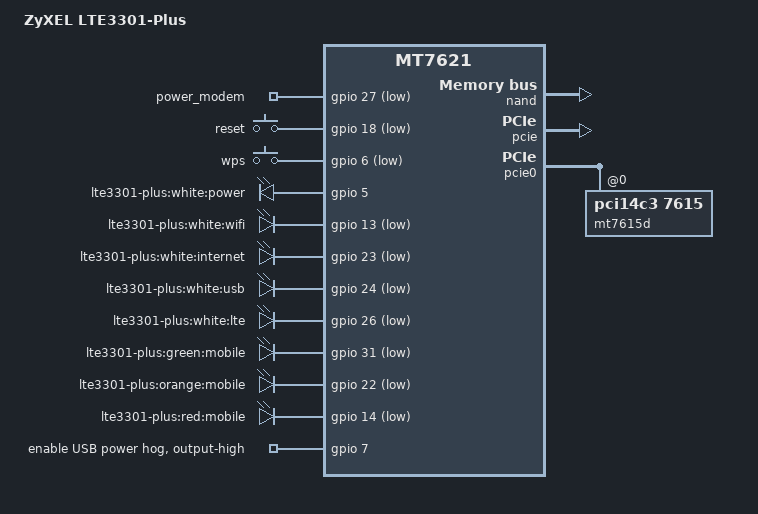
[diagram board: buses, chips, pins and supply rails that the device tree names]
/dts-v1/;

#include "mt7621.dtsi"

#include <dt-bindings/gpio/gpio.h>
#include <dt-bindings/input/input.h>

/ {
	compatible = "zyxel,lte3301-plus", "mediatek,mt7621-soc";
	model = "ZyXEL LTE3301-Plus";

	aliases {
		label-mac-device = &gmac0;
		led-boot = &led_power;
		led-failsafe = &led_power;
		led-running = &led_power;
		led-upgrade = &led_power;
	};


	chosen {
		bootargs = "console=ttyS0,57600";
	};

	gpio_export {
		compatible = "gpio-export";
		#size-cells = <0>;

		power_modem {
			gpio-export,name = "power_modem";
			gpio-export,output = <1>;
			gpios = <&gpio 27 GPIO_ACTIVE_LOW>;
		};

	};

	keys {
		compatible = "gpio-keys";

		reset {
			label = "reset";
			gpios = <&gpio 18 GPIO_ACTIVE_LOW>;
			linux,code = <KEY_RESTART>;
		};

		wps {
			label = "wps";
			gpios = <&gpio 6 GPIO_ACTIVE_LOW>;
			linux,code = <KEY_WPS_BUTTON>;
		};

	};

	leds {
		compatible = "gpio-leds";

		led_power: power {
			label = "lte3301-plus:white:power";
			gpios = <&gpio 5 GPIO_ACTIVE_HIGH>;
		};

		wifi {
			label = "lte3301-plus:white:wifi";
			gpios = <&gpio 13 GPIO_ACTIVE_LOW>;
		};

		internet {
			label = "lte3301-plus:white:internet";
			gpios = <&gpio 23 GPIO_ACTIVE_LOW>;
		};

		usb {
			label = "lte3301-plus:white:usb";
			gpios = <&gpio 24 GPIO_ACTIVE_LOW>;
		};

		lte {
			label = "lte3301-plus:white:lte";
			gpios = <&gpio 26 GPIO_ACTIVE_LOW>;
		};

		mobile_green {
			label = "lte3301-plus:green:mobile";
			gpios = <&gpio 31 GPIO_ACTIVE_LOW>;
		};

		mobile_orange {
			label = "lte3301-plus:orange:mobile";
			gpios = <&gpio 22 GPIO_ACTIVE_LOW>;
		};

		mobile_red {
			label = "lte3301-plus:red:mobile";
			gpios = <&gpio 14 GPIO_ACTIVE_LOW>;
		};

	};

};

&gpio {
	status = "okay";

	enable_usb_power {
		gpio-hog;
		line-name = "enable USB power";
		gpios = <7 GPIO_ACTIVE_HIGH>;
		output-high;
	};
};

&nand {
	status = "okay";

	partitions {
		compatible = "fixed-partitions";
		#address-cells = <1>;
		#size-cells = <1>;

		partition@0 {
			label = "uboot";
			reg = <0x00000 0x80000>; /* 64 KB */
		};
		partition@80000 {
			label = "uboot_env";
			reg = <0x80000 0x80000>; /* 64 KB */
		};
		factory: partition@100000 {
			label = "factory";
			reg = <0x100000 0x40000>;
		};
		partition@140000 {
			label = "Kernel";
			reg = <0x140000 0x1ec0000>;
		};
		partition@2140000 {
			label = "kernel2";
			reg = <0x2140000 0x1ec0000>;
		};
		partition@4000000 {
			label = "wwan";
			reg = <0x4000000 0x100000>;
		};
		partition@4100000 {
			label = "ubi";
			reg = <0x4100000 0x3ee0000>;
		};
	};
};

&ethernet {
	pinctrl-0 = <&mdio_pins>, <&rgmii1_pins>;
};

&state_default {
	gpio {
		groups = "i2c", "rgmii2", "uart3", "jtag", "wdt";
		function = "gpio";
	};

};

&gmac0 {
	nvmem-cells = <&macaddr_factory_fe6e>;
	nvmem-cell-names = "mac-address";
};

&switch0 {
	ports {
		port@0 {
			status = "okay";
			label = "lan4";
		};
		port@1 {
			status = "okay";
			label = "lan3";
		};
		port@2 {
			status = "okay";
			label = "lan2";
		};
		port@3 {
			status = "okay";
			label = "lan1";
		};
	};
};

&pcie {
	status = "okay";
};

&pcie0 {
	status = "okay";
	mt7615d@0,0 {
		/* In reality  at hangs at pcie1, this is a driver bug */
		compatible = "pci14c3,7615";
		reg = <0x0000 0 0 0 0>;
		mediatek,firmware-eeprom = "mt7615e_eeprom.bin";
		mediatek,mtd-eeprom = <&factory 0x0000>;
		nvmem-cells = <&macaddr_factory_fe6e>;
		nvmem-cell-names = "mac-address";
		mac-address-increment = <(1)>;
	};

};

&factory {
	compatible = "nvmem-cells";
	#address-cells = <1>;
	#size-cells = <1>;
	mtd-mac-address = <&factory 0xfe6e>;

	macaddr_factory_fe6e: macaddr@fe6e {
		reg = <0xfe6e 0x6>;
	};
};
